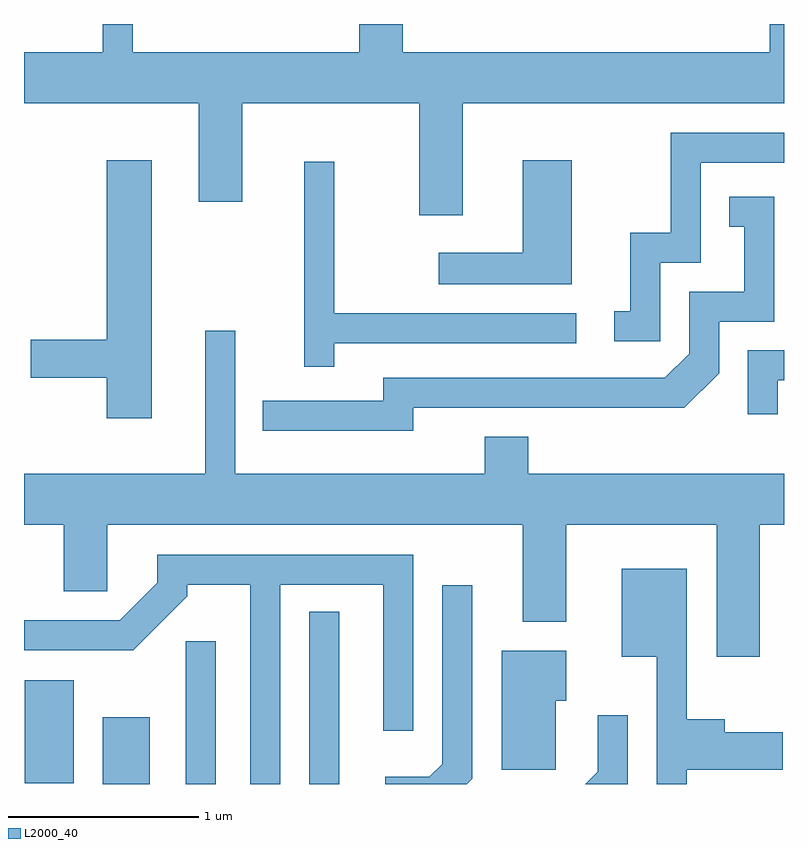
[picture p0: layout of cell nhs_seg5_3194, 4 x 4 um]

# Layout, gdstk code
import gdstk
lib = gdstk.Library(unit=1e-6, precision=1e-09)
def R(c, l, rs):  # rectangles x0, y0, x1, y1
    for r in rs: c.add(gdstk.rectangle(r[:2], r[2:], *l))
def P(c, l, *ps):  # polygons
    for p in ps: c.add(gdstk.Polygon(p, *l))
L2000_40 = (2000, 40)

nhs_seg5_3194 = lib.new_cell('nhs_seg5_3194')
R(nhs_seg5_3194, L2000_40, [(280.026,1482.072,280.274,1482.424), (280.461,1482.072,280.619,1482.823), (281.111,1482.072,281.269,1482.978), (279.616,1482.076,279.874,1482.619)])
P(nhs_seg5_3194, L2000_40, [(281.919,1485.656),(283.611,1485.656),(283.611,1486.072),(283.536,1486.072),(283.536,1485.924),(281.604,1485.924),(281.604,1486.072),(281.376,1486.072),(281.376,1485.924),(280.184,1485.924),(280.184,1486.072),(280.026,1486.072),(280.026,1485.924),(279.611,1485.924),(279.611,1485.656),(280.531,1485.656),(280.531,1485.136),(280.759,1485.136),(280.759,1485.656),(281.691,1485.656),(281.691,1485.066),(281.919,1485.066)],
  [(282.959,1484.816),(283.174,1484.816),(283.174,1485.341),(283.611,1485.341),(283.611,1485.499),(283.016,1485.499),(283.016,1484.974),(282.801,1484.974),(282.801,1484.559),(282.718,1484.559),(282.718,1484.401),(282.959,1484.401)],
  [(282.494,1485.354),(282.236,1485.354),(282.236,1484.869),(281.793,1484.869),(281.793,1484.701),(282.494,1484.701)],
  [(280.284,1485.354),(280.046,1485.354),(280.046,1484.409),(279.646,1484.409),(279.646,1484.211),(280.046,1484.211),(280.046,1483.996),(280.284,1483.996)],
  [(281.244,1484.391),(282.518,1484.391),(282.518,1484.549),(281.244,1484.549),(281.244,1485.348),(281.086,1485.348),(281.086,1484.268),(281.244,1484.268)],
  [(281.659,1484.051),(283.087,1484.051),(283.269,1484.234),(283.269,1484.506),(283.559,1484.506),(283.559,1485.164),(283.323,1485.164),(283.323,1485.006),(283.401,1485.006),(283.401,1484.664),(283.111,1484.664),(283.111,1484.337),(282.984,1484.209),(281.501,1484.209),(281.501,1484.089),(280.868,1484.089),(280.868,1483.931),(281.659,1483.931)],
  [(283.484,1483.436),(283.611,1483.436),(283.611,1483.704),(282.264,1483.704),(282.264,1483.899),(282.036,1483.899),(282.036,1483.704),(280.724,1483.704),(280.724,1484.458),(280.566,1484.458),(280.566,1483.704),(279.611,1483.704),(279.611,1483.436),(279.821,1483.436),(279.821,1483.086),(280.049,1483.086),(280.049,1483.436),(282.236,1483.436),(282.236,1482.926),(282.464,1482.926),(282.464,1483.436),(283.256,1483.436),(283.256,1482.741),(283.484,1482.741)],
  [(283.579,1484.196),(283.611,1484.196),(283.611,1484.354),(283.421,1484.354),(283.421,1484.018),(283.579,1484.018)],
  [(280.959,1483.121),(281.501,1483.121),(281.501,1482.353),(281.659,1482.353),(281.659,1483.279),(280.311,1483.279),(280.311,1483.132),(280.114,1482.934),(279.611,1482.934),(279.611,1482.776),(280.187,1482.776),(280.469,1483.059),(280.469,1483.121),(280.801,1483.121),(280.801,1482.072),(280.959,1482.072)],
  [(283.099,1482.146),(283.604,1482.146),(283.604,1482.344),(283.299,1482.344),(283.299,1482.414),(283.099,1482.414),(283.099,1483.204),(282.756,1483.204),(282.756,1482.741),(282.941,1482.741),(282.941,1482.072),(283.099,1482.072)],
  [(281.969,1482.099),(281.969,1483.118),(281.811,1483.118),(281.811,1482.177),(281.744,1482.109),(281.513,1482.109),(281.513,1482.072),(281.942,1482.072)],
  [(282.409,1482.511),(282.464,1482.511),(282.464,1482.774),(282.126,1482.774),(282.126,1482.146),(282.409,1482.146)],
  [(282.789,1482.433),(282.631,1482.433),(282.631,1482.137),(282.566,1482.072),(282.789,1482.072)])

lib.write_gds('nhs_seg5_3194.gds')
